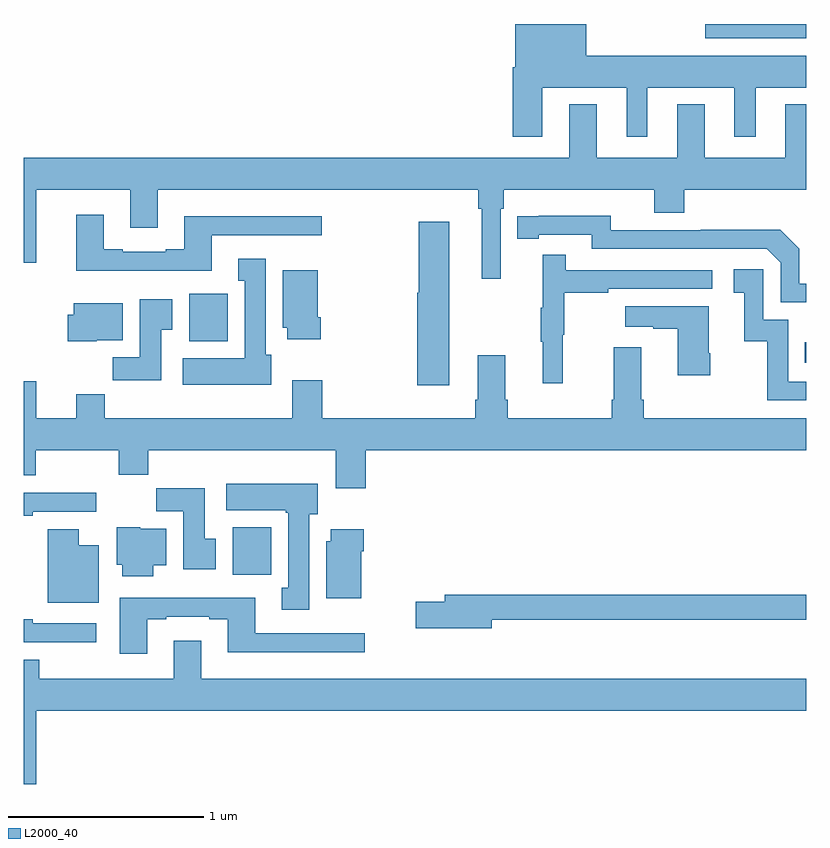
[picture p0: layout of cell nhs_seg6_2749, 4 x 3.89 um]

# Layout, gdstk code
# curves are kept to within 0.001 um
import gdstk
lib = gdstk.Library(unit=1e-6, precision=1e-09)
def R(c, l, rs):  # rectangles x0, y0, x1, y1
    for r in rs: c.add(gdstk.rectangle(r[:2], r[2:], *l))
def P(c, l, *ps):  # polygons
    for p in ps: c.add(gdstk.Polygon(p, *l))
L2000_40 = (2000, 40)

nhs_seg6_2749 = lib.new_cell('nhs_seg6_2749')
R(nhs_seg6_2749, L2000_40, [(274.067,962.684,274.264,962.926), (276.994,963.768,277,963.873), (273.845,963.878,274.042,964.12), (276.483,965.426,277,965.5)])
P(nhs_seg6_2749, L2000_40, [(275.65,965.174),(276.083,965.174),(276.083,964.923),(276.187,964.923),(276.187,965.174),(276.632,965.174),(276.632,964.923),(276.742,964.923),(276.742,965.174),(277,965.174),(277,965.338),(275.875,965.338),(275.875,965.5),(275.513,965.5),(275.513,965.278),(275.501,965.278),(275.501,964.923),(275.65,964.923)],
  [(275.439,964.556),(275.453,964.556),(275.453,964.652),(276.224,964.652),(276.224,964.535),(276.377,964.535),(276.377,964.652),(277,964.652),(277,965.089),(276.893,965.089),(276.893,964.816),(276.481,964.816),(276.481,965.089),(276.341,965.089),(276.341,964.816),(275.929,964.816),(275.929,965.089),(275.789,965.089),(275.789,964.816),(273,964.816),(273,964.278),(273.064,964.278),(273.064,964.652),(273.545,964.652),(273.545,964.458),(273.685,964.458),(273.685,964.652),(275.323,964.652),(275.323,964.556),(275.342,964.556),(275.342,964.197),(275.439,964.197)],
  [(273.961,964.419),(274.522,964.419),(274.522,964.516),(273.821,964.516),(273.821,964.348),(273.725,964.348),(273.725,964.335),(273.505,964.335),(273.505,964.348),(273.409,964.348),(273.409,964.525),(273.269,964.525),(273.269,964.238),(273.961,964.238)],
  [(277,964.173),(276.966,964.173),(276.966,964.35),(276.868,964.448),(276.46,964.448),(276.46,964.446),(276,964.446),(276,964.519),(275.524,964.518),(275.524,964.402),(275.632,964.402),(275.632,964.422),(275.904,964.422),(275.904,964.35),(276.798,964.35),(276.87,964.278),(276.87,964.077),(277,964.077)],
  [(275.176,964.489),(275.018,964.489),(275.018,964.125),(275.012,964.125),(275.012,963.654),(275.176,963.654)],
  [(275.756,963.912),(275.764,963.912),(275.764,964.126),(275.987,964.126),(275.987,964.146),(276.52,964.146),(276.52,964.242),(275.771,964.242),(275.771,964.321),(275.654,964.321),(275.654,964.049),(275.643,964.049),(275.643,963.875),(275.654,963.875),(275.654,963.663),(275.756,963.663)],
  [(274.264,963.81),(274.237,963.81),(274.237,964.3),(274.097,964.3),(274.097,964.187),(274.13,964.187),(274.13,963.79),(273.813,963.79),(273.813,963.656),(274.264,963.656)],
  [(277,963.672),(276.909,963.672),(276.909,963.987),(276.78,963.987),(276.78,964.246),(276.63,964.246),(276.63,964.125),(276.683,964.125),(276.683,963.879),(276.801,963.879),(276.801,963.576),(277,963.576)],
  [(274.517,964),(274.504,964),(274.504,964.24),(274.325,964.24),(274.325,963.948),(274.346,963.948),(274.346,963.888),(274.517,963.888)],
  [(273.703,963.937),(273.76,963.937),(273.76,964.093),(273.593,964.093),(273.593,963.796),(273.454,963.796),(273.454,963.678),(273.703,963.678)],
  [(273.372,963.884),(273.505,963.884),(273.505,964.072),(273.254,964.072),(273.254,964.014),(273.224,964.014),(273.224,963.878),(273.372,963.878)],
  [(276.51,963.817),(276.502,963.817),(276.502,964.057),(276.075,964.057),(276.075,963.953),(276.218,963.953),(276.218,963.943),(276.344,963.943),(276.344,963.705),(276.51,963.705)],
  [(274.748,963.32),(277,963.32),(277,963.484),(276.17,963.484),(276.17,963.58),(276.157,963.58),(276.157,963.847),(276.017,963.847),(276.017,963.58),(276.005,963.58),(276.005,963.484),(275.474,963.484),(275.474,963.58),(275.461,963.58),(275.461,963.805),(275.321,963.805),(275.321,963.58),(275.309,963.58),(275.309,963.484),(274.526,963.484),(274.526,963.679),(274.373,963.679),(274.373,963.484),(273.413,963.484),(273.413,963.608),(273.269,963.608),(273.269,963.484),(273.064,963.484),(273.064,963.673),(273,963.673),(273,963.192),(273.061,963.192),(273.061,963.32),(273.484,963.32),(273.484,963.196),(273.635,963.196),(273.635,963.32),(274.595,963.32),(274.595,963.126),(274.748,963.126)],
  [(274.459,962.994),(274.504,962.994),(274.504,963.148),(274.035,963.148),(274.035,963.014),(274.339,963.014),(274.339,963.001),(274.352,963.001),(274.352,962.618),(274.319,962.618),(274.319,962.505),(274.459,962.505)],
  [(273.982,962.868),(273.925,962.868),(273.925,963.127),(273.676,963.127),(273.676,963.008),(273.815,963.008),(273.815,962.712),(273.982,962.712)],
  [(273.046,963.006),(273.37,963.006),(273.37,963.104),(273.157,963.104),(273.157,963.102),(273,963.102),(273,962.986),(273.046,962.986)],
  [(273.661,962.732),(273.727,962.732),(273.727,962.92),(273.594,962.92),(273.594,962.926),(273.476,962.926),(273.476,962.736),(273.503,962.736),(273.503,962.675),(273.661,962.675)],
  [(274.726,962.804),(274.739,962.804),(274.739,962.917),(274.568,962.917),(274.568,962.856),(274.547,962.856),(274.547,962.564),(274.726,962.564)],
  [(273.382,962.836),(273.28,962.836),(273.28,962.917),(273.122,962.917),(273.122,962.54),(273.382,962.54)],
  [(275.392,962.454),(277,962.454),(277,962.582),(275.153,962.582),(275.153,962.546),(275.004,962.546),(275.004,962.411),(275.392,962.411)],
  [(273.631,962.457),(273.727,962.457),(273.727,962.469),(273.947,962.469),(273.947,962.457),(274.043,962.457),(274.043,962.288),(274.744,962.288),(274.744,962.385),(274.183,962.385),(274.183,962.566),(273.491,962.566),(273.491,962.28),(273.631,962.28)],
  [(273.37,962.436),(273.046,962.436),(273.046,962.456),(273,962.456),(273,962.34),(273.123,962.34),(273.123,962.339),(273.37,962.339)],
  [(273.064,961.988),(277,961.988),(277,962.152),(273.907,962.152),(273.907,962.347),(273.767,962.347),(273.767,962.152),(273.08,962.152),(273.08,962.25),(273,962.25),(273,961.614),(273.064,961.614)])

lib.write_gds('nhs_seg6_2749.gds')
